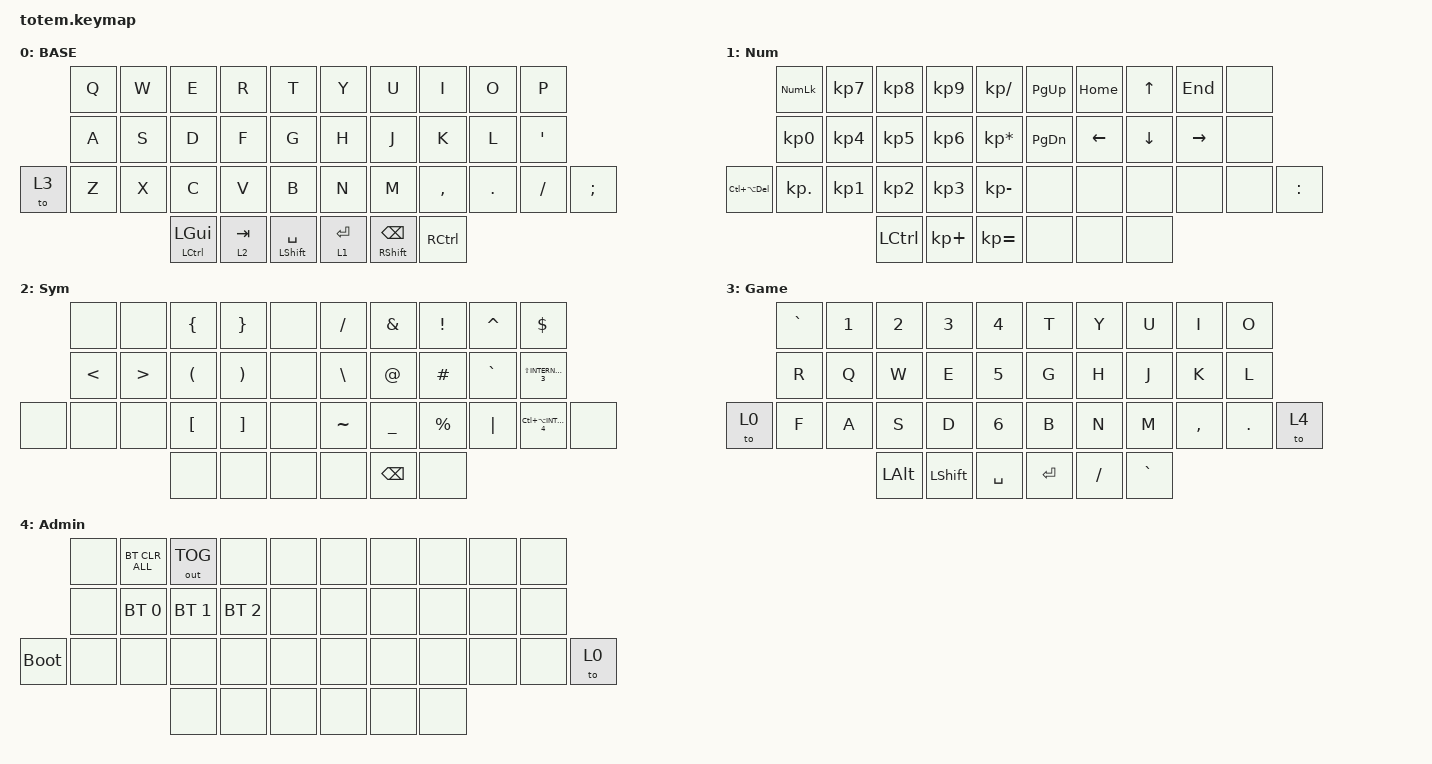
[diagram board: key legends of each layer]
//
//                                                        ▀▀▀▀▀     ▀▀▀▀▀          ▀▀█▀▀
//                                                        ▄▀▀▀▄  ▄  ▄▀▀▀▄  ▄  ▄▀▀▀▄  █  ▄▀▀▀▄
//                                                        █   █  █  █   █  █  █   █  █  █   █
//                                                         ▀▀▀   █   ▀▀▀   █   ▀▀▀   ▀   ▀▀▀
//                                                               █      ▄▄▄█▄▄▄    █   █  
//                                                               ▀      █  █  █     █▄█
//                                                             ▀▀▀▀▀    █  █  █      ▀
//                                                                      ▀  ▀  ▀
//
// ▄▄▄▄▄▄▄▄▄▄▄▄▄▄▄▄▄▄▄▄▄▄▄▄▄▄▄▄▄▄▄▄▄▄▄▄▄▄▄▄▄▄▄▄▄▄▄▄▄▄▄▄▄▄▄▄▄▄▄▄▄▄▄▄▄▄▄▄▄▄▄▄▄▄▄▄▄▄▄▄▄▄▄▄▄▄▄▄▄▄▄▄▄▄▄▄▄▄▄▄▄▄▄▄▄▄▄▄▄▄▄▄▄▄▄▄▄▄▄▄▄▄▄▄▄▄▄▄▄▄▄▄▄▄▄▄▄▄▄▄▄▄▄▄▄▄▄▄▄

#include <behaviors.dtsi>
#include <dt-bindings/zmk/bt.h>
#include <dt-bindings/zmk/keys.h>
#include <dt-bindings/zmk/outputs.h>

#define BASE 0
#define NAV  1
#define SYM  2
#define ADJ  3

&mt {
    quick-tap-ms = <80>;
    global-quick-tap;
    flavor = "balanced";
    tapping-term-ms = <180>;
};

/ {
    combos { compatible = "zmk,combos"; };

    keymap {
        compatible = "zmk,keymap";

        // ▄▄▄▄▄▄▄▄▄▄▄▄▄▄▄▄▄▄▄▄▄▄▄▄▄▄▄▄▄▄▄▄▄▄▄▄▄▄▄▄▄▄▄▄▄▄▄▄▄▄▄▄▄▄▄▄▄▄▄▄▄▄▄▄▄▄▄▄▄▄▄▄▄▄▄▄▄▄▄▄▄▄▄▄▄▄▄▄▄▄▄▄▄▄▄▄▄▄▄▄▄▄▄▄▄▄▄▄▄▄▄▄▄▄▄▄▄▄▄▄▄▄▄▄▄▄▄▄▄▄▄▄▄▄▄▄▄▄▄▄▄▄▄▄▄▄▄▄▄

        base_layer {
            // ┏━━━━━━━━━━━━━━━━━━━━━━━━━━━━━━━━━━━━━━━┓

            label = "BASE";

            // ┗━━━━━━━━━━━━━━━━━━━━━━━━━━━━━━━━━━━━━━━┛
            //             ┏━━━━━━━━━━━┳━━━━━━━━━━━┳━━━━━━━━━━━┳━━━━━━━━━━━┳━━━━━━━━━━━┓   ┏━━━━━━━━━━━┳━━━━━━━━━━━┳━━━━━━━━━━━┳━━━━━━━━━━━┳━━━━━━━━━━━┓
            //             ┃     Q     ┃     W     ┃     F     ┃     P     ┃     G     ┃   ┃     J     ┃     L     ┃     U     ┃     Y     ┃     ;     ┃
            //             ┣━━━━━━━━━━━╋━━━━━━━━━━━╋━━━━━━━━━━━╋━━━━━━━━━━━╋━━━━━━━━━━━┫   ┣━━━━━━━━━━━╋━━━━━━━━━━━╋━━━━━━━━━━━╋━━━━━━━━━━━╋━━━━━━━━━━━┫
            //             ┃     A     ┃     R     ┃     S     ┃     T     ┃     D     ┃   ┃     H     ┃     N     ┃     E     ┃     I     ┃     O     ┃
            // ┏━━━━━━━━━━━╋━━━━━━━━━━━╋━━━━━━━━━━━╋━━━━━━━━━━━╋━━━━━━━━━━━╋━━━━━━━━━━━┫   ┣━━━━━━━━━━━╋━━━━━━━━━━━╋━━━━━━━━━━━╋━━━━━━━━━━━╋━━━━━━━━━━━╋━━━━━━━━━━━┓
            // ┃           ┃     Z     ┃     X     ┃     C     ┃     V     ┃     B     ┃   ┃     K     ┃     M     ┃     ,     ┃     .     ┃     /     ┃           ┃
            // ┗━━━━━━━━━━━┻━━━━━━━━━━━┻━━━━━━━━━━━╋━━━━━━━━━━━╋━━━━━━━━━━━╋━━━━━━━━━━━┫   ┣━━━━━━━━━━━╋━━━━━━━━━━━╋━━━━━━━━━━━╋━━━━━━━━━━━┻━━━━━━━━━━━┻━━━━━━━━━━━┛
            //                                     ┃           ┃    TAB    ┃    SPC    ┃   ┃   ENTER   ┃   BSPC    ┃           ┃
            //                                     ┗━━━━━━━━━━━┻━━━━━━━━━━━┻━━━━━━━━━━━┛   ┗━━━━━━━━━━━┻━━━━━━━━━━━┻━━━━━━━━━━━┛

            bindings = <
       &kp Q  &kp W  &kp E               &kp R      &kp T               &kp Y      &kp U                 &kp I              &kp O    &kp P
       &kp A  &kp S  &kp D               &kp F      &kp G               &kp H      &kp J                 &kp K              &kp L    &kp SQT
&to 3  &kp Z  &kp X  &kp C               &kp V      &kp B               &kp N      &kp M                 &kp COMMA          &kp DOT  &kp FSLH  &kp SEMICOLON
                     &mt LCTRL LEFT_GUI  &lt 2 TAB  &mt LSHIFT SPACE    &lt 1 RET  &mt RSHIFT BACKSPACE  &kp RIGHT_CONTROL
            >;
        };

        // ▄▄▄▄▄▄▄▄▄▄▄▄▄▄▄▄▄▄▄▄▄▄▄▄▄▄▄▄▄▄▄▄▄▄▄▄▄▄▄▄▄▄▄▄▄▄▄▄▄▄▄▄▄▄▄▄▄▄▄▄▄▄▄▄▄▄▄▄▄▄▄▄▄▄▄▄▄▄▄▄▄▄▄▄▄▄▄▄▄▄▄▄▄▄▄▄▄▄▄▄▄▄▄▄▄▄▄▄▄▄▄▄▄▄▄▄▄▄▄▄▄▄▄▄▄▄▄▄▄▄▄▄▄▄▄▄▄▄▄▄▄▄▄▄▄▄▄▄▄
        // ▄▄▄▄▄▄▄▄▄▄▄▄▄▄▄▄▄▄▄▄▄▄▄▄▄▄▄▄▄▄▄▄▄▄▄▄▄▄▄▄▄▄▄▄▄▄▄▄▄▄▄▄▄▄▄▄▄▄▄▄▄▄▄▄▄▄▄▄▄▄▄▄▄▄▄▄▄▄▄▄▄▄▄▄▄▄▄▄▄▄▄▄▄▄▄▄▄▄▄▄▄▄▄▄▄▄▄▄▄▄▄▄▄▄▄▄▄▄▄▄▄▄▄▄▄▄▄▄▄▄▄▄▄▄▄▄▄▄▄▄▄▄▄▄▄▄▄▄▄
        // ▄▄▄▄▄▄▄▄▄▄▄▄▄▄▄▄▄▄▄▄▄▄▄▄▄▄▄▄▄▄▄▄▄▄▄▄▄▄▄▄▄▄▄▄▄▄▄▄▄▄▄▄▄▄▄▄▄▄▄▄▄▄▄▄▄▄▄▄▄▄▄▄▄▄▄▄▄▄▄▄▄▄▄▄▄▄▄▄▄▄▄▄▄▄▄▄▄▄▄▄▄▄▄▄▄▄▄▄▄▄▄▄▄▄▄▄▄▄▄▄▄▄▄▄▄▄▄▄▄▄▄▄▄▄▄▄▄▄▄▄▄▄▄▄▄▄▄▄▄

        Num {
            bindings = <
                    &kp KP_NUMLOCK   &kp KP_N7        &kp KP_NUMBER_8  &kp KP_NUMBER_9  &kp KP_DIVIDE      &kp PG_UP      &kp HOME        &kp UP_ARROW    &kp END          &none
                    &kp KP_NUMBER_0  &kp KP_NUMBER_4  &kp KP_NUMBER_5  &kp KP_NUMBER_6  &kp KP_MULTIPLY    &kp PAGE_DOWN  &kp LEFT_ARROW  &kp DOWN_ARROW  &kp RIGHT_ARROW  &none
&kp LC(LA(DELETE))  &kp KP_DOT       &kp KP_NUMBER_1  &kp KP_NUMBER_2  &kp KP_NUMBER_3  &kp KP_MINUS       &none          &none           &none           &none            &none  &kp COLON
                                                      &kp LCTRL        &kp KP_PLUS      &kp KP_EQUAL       &none          &none           &none
            >;
        };

        Sym {
            bindings = <
       &none          &none             &kp LEFT_BRACE        &kp RIGHT_BRACE        &none    &kp FSLH       &kp AMPERSAND  &kp EXCL     &kp CARET  &kp DOLLAR
       &kp LESS_THAN  &kp GREATER_THAN  &kp LEFT_PARENTHESIS  &kp RIGHT_PARENTHESIS  &none    &kp BACKSLASH  &kp AT_SIGN    &kp HASH     &kp GRAVE  &kp LS(INTERNATIONAL_3)
&none  &none          &none             &kp LEFT_BRACKET      &kp RIGHT_BRACKET      &none    &kp TILDE      &kp UNDER      &kp PERCENT  &kp PIPE   &kp LC(LA(INTERNATIONAL_4))  &none
                                        &none                 &none                  &none    &none          &kp BACKSPACE  &none
            >;
        };

        Game {
            bindings = <
       &kp GRAVE  &kp NUMBER_1  &kp NUMBER_2  &kp NUMBER_3  &kp NUMBER_4    &kp T      &kp Y     &kp U      &kp I      &kp O
       &kp R      &kp Q         &kp W         &kp E         &kp N5          &kp G      &kp H     &kp J      &kp K      &kp L
&to 0  &kp F      &kp A         &kp S         &kp D         &kp NUMBER_6    &kp B      &kp N     &kp M      &kp COMMA  &kp DOT  &to 4
                                &kp LALT      &kp LSHIFT    &kp SPACE       &kp ENTER  &kp FSLH  &kp GRAVE
            >;
        };

        Admin {
            bindings = <
             &none  &bt BT_CLR_ALL  &out OUT_TOG  &none         &none    &none  &none  &none  &none  &none
             &none  &bt BT_SEL 0    &bt BT_SEL 1  &bt BT_SEL 2  &none    &none  &none  &none  &none  &none
&bootloader  &none  &none           &none         &none         &none    &none  &none  &none  &none  &none  &to 0
                                    &none         &none         &none    &none  &none  &none
            >;
        };
    };
};
